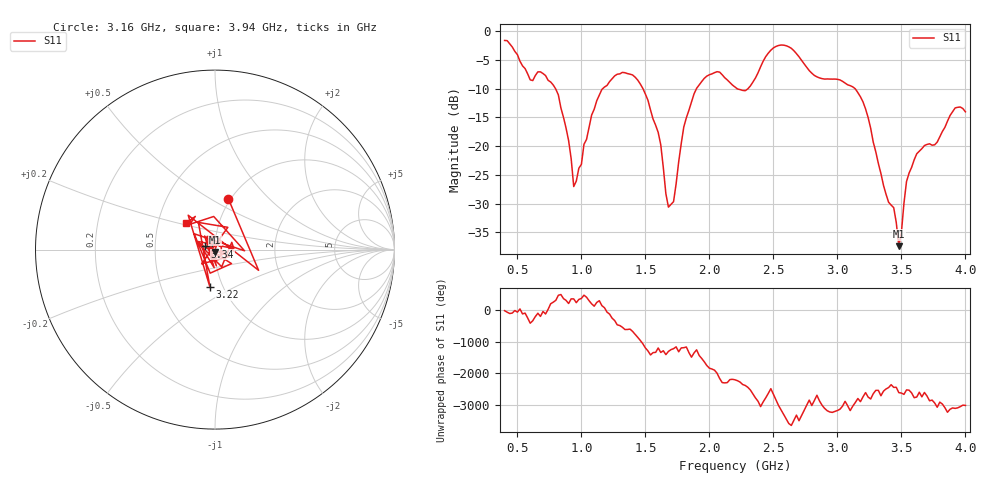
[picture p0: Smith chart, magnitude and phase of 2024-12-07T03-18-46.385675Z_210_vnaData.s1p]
!Created with skrf (http://scikit-rf.org).
# Hz S RI R 50.0
!freq ReS11 ImS11
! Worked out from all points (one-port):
!   181 points, 400 MHz to 4 GHz, reference 50 ohm
!   lowest |S11| = -37.4 dB at 3.48 GHz (marker M1), VSWR 1.03, Z = 49.8 - j1.32 ohm
!   |S11| at or under -10 dB: 797.9 MHz to 1.166 GHz (368.5 MHz wide, 37.5 % of centre); 1.481 GHz to 1.899 GHz (417.8 MHz wide, 24.7 % of centre); 3.138 GHz to end of sweep (the widest 3 of 4)
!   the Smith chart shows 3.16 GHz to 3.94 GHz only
!   S11 on the Smith chart (normalised r, x): 3.16 GHz: 0.98, +0.60; 3.22 GHz: 0.87, -0.38; 3.34 GHz: 0.89, +0.03; 3.94 GHz: 0.70, +0.21
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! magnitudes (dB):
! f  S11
! 400 MHz  -1.6
! 600 MHz  -8.5
! 780 MHz  -9.4
! 860 MHz  -15.0
! 940 MHz  -27.0
! 1.12 GHz  -12.1
! 1.3 GHz  -7.4
! 1.52 GHz  -12.0
! 1.62 GHz  -19.8
! 1.68 GHz  -30.6
! 1.72 GHz  -29.7
! 1.76 GHz  -22.7
! 1.8 GHz  -16.7
! 1.92 GHz  -9.3
! 2.06 GHz  -7.0
! 2.2 GHz  -9.7
! 2.3 GHz  -10.0
! 2.5 GHz  -2.9
! 2.66 GHz  -3.4
! 3.1 GHz  -9.5
! 3.16 GHz  -10.7
! 3.22 GHz  -13.5
! 3.34 GHz  -24.8
! 3.44 GHz  -30.7
! 3.48 GHz  -37.4
! 3.56 GHz  -24.7
! 3.94 GHz  -13.2
! 4 GHz  -14.0
